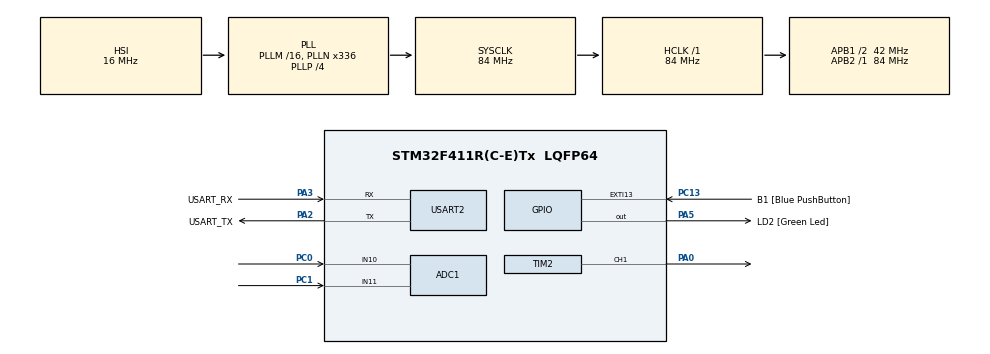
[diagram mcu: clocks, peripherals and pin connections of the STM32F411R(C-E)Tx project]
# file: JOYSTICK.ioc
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ADC1.Channel-10\#ChannelRegularConversion=ADC_CHANNEL_11
ADC1.Channel-4\#ChannelRegularConversion=ADC_CHANNEL_10
ADC1.NbrOfConversion=2
ADC1.NbrOfConversionFlag=1
ADC1.Rank-10\#ChannelRegularConversion=2
ADC1.SamplingTime-10\#ChannelRegularConversion=ADC_SAMPLETIME_15CYCLES
ADC1.SamplingTime-4\#ChannelRegularConversion=ADC_SAMPLETIME_15CYCLES
ADC1.master=1
Mcu.Family=STM32F4
Mcu.Name=STM32F411R(C-E)Tx
Mcu.Package=LQFP64
NVIC.PriorityGroup=NVIC_PRIORITYGROUP_0
PA0-WKUP.Signal=S_TIM2_CH1_ETR
PA13.GPIO_Label=TMS
PA13.Mode=Serial_Wire
PA13.Signal=SYS_JTMS-SWDIO
PA14.GPIO_Label=TCK
PA14.Mode=Serial_Wire
PA14.Signal=SYS_JTCK-SWCLK
PA2.GPIO_Label=USART_TX
PA2.Mode=Asynchronous
PA2.Signal=USART2_TX
PA3.GPIO_Label=USART_RX
PA3.Mode=Asynchronous
PA3.Signal=USART2_RX
PA5.GPIO_Label=LD2 [Green Led]
PA5.Signal=GPIO_Output
PB3.GPIO_Label=SWO
PB3.Signal=SYS_JTDO-SWO
PC0.Signal=ADCx_IN10
PC1.Signal=ADCx_IN11
PC13-ANTI_TAMP.GPIO_Label=B1 [Blue PushButton]
PC13-ANTI_TAMP.GPIO_ModeDefaultEXTI=GPIO_MODE_IT_FALLING
PC13-ANTI_TAMP.Signal=GPXTI13
PC14-OSC32_IN.Mode=LSE-External-Oscillator
PC14-OSC32_IN.Signal=RCC_OSC32_IN
PC15-OSC32_OUT.Mode=LSE-External-Oscillator
PC15-OSC32_OUT.Signal=RCC_OSC32_OUT
PH0\ -\ OSC_IN.Mode=HSE-External-Clock-Source
PH0\ -\ OSC_IN.Signal=RCC_OSC_IN
PH1\ -\ OSC_OUT.Mode=HSE-External-Clock-Source
PH1\ -\ OSC_OUT.Signal=RCC_OSC_OUT
ProjectManager.HeapSize=0x200
ProjectManager.StackSize=0x400
ProjectManager.TargetToolchain=CMake
RCC.48MHZClocksFreq_Value=84000000
RCC.AHBFreq_Value=84000000
RCC.APB1CLKDivider=RCC_HCLK_DIV2
RCC.APB1Freq_Value=42000000
RCC.APB1TimFreq_Value=84000000
RCC.APB2Freq_Value=84000000
RCC.APB2TimFreq_Value=84000000
RCC.CortexFreq_Value=84000000
RCC.FLatency-AdvancedSettings=FLASH_LATENCY_2
RCC.HCLKFreq_Value=84000000
RCC.HSE_VALUE=8000000
RCC.HSI_VALUE=16000000
RCC.PLLN=336
RCC.PLLP=RCC_PLLP_DIV4
RCC.SYSCLKFreq_VALUE=84000000
RCC.SYSCLKSource=RCC_SYSCLKSOURCE_PLLCLK
RCC.VCOOutputFreq_Value=336000000
SH.ADCx_IN10.0=ADC1_IN10,IN10
SH.ADCx_IN11.0=ADC1_IN11,IN11
SH.S_TIM2_CH1_ETR.0=TIM2_CH1,PWM Generation1 CH1
TIM2.Channel-PWM\ Generation1\ CH1=TIM_CHANNEL_1
TIM2.Period=499
TIM2.Prescaler=83
USART2.VirtualMode=VM_ASYNC
board=NUCLEO-F411RE

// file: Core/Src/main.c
/* USER CODE BEGIN Header */
/**
  ******************************************************************************
  * @file           : main.c
  * @brief          : Main program body
  ******************************************************************************
  * @attention
  *
  * Copyright (c) 2026 STMicroelectronics.
  * All rights reserved.
  *
  * This software is licensed under terms that can be found in the LICENSE file
  * in the root directory of this software component.
  * If no LICENSE file comes with this software, it is provided AS-IS.
  *
  ******************************************************************************
  */
/* USER CODE END Header */
#include "main.h"
#include "stm32f411xe.h"
#include "stm32f4xx_hal_gpio.h"

/* USER CODE BEGIN Includes */
#include <stdio.h>
#include <string.h>

/* USER CODE END Includes */

ADC_HandleTypeDef hadc1;

TIM_HandleTypeDef htim2;

UART_HandleTypeDef huart2;

void SystemClock_Config(void);
static void MX_GPIO_Init(void);
static void MX_ADC1_Init(void);
static void MX_USART2_UART_Init(void);
static void MX_TIM2_Init(void);

/* USER CODE BEGIN 0 */
char msg[50];
uint32_t x_axis, y_axis = 0;

/* USER CODE END 0 */

int main(void)
{

  /* MCU Configuration--------------------------------------------------------*/

  /* Reset of all peripherals, Initializes the Flash interface and the Systick. */
  HAL_Init();

  /* Configure the system clock */
  SystemClock_Config();

  /* Initialize all configured peripherals */
  MX_GPIO_Init();
  MX_ADC1_Init();
  MX_USART2_UART_Init();
  MX_TIM2_Init();
  /* USER CODE BEGIN 2 */
  HAL_TIM_PWM_Start(&htim2, TIM_CHANNEL_1);

  /* USER CODE END 2 */

  /* Infinite loop */
  while (1)
  {

   /* Previous code for DIMMING LED Here:
   HAL_GPIO_WritePin(GPIOA, GPIO_PIN_8, 1); // Set PA8 high
    HAL_ADC_Start(&hadc1);
    if(HAL_ADC_PollForConversion(&hadc1, 10) == HAL_OK){
      x_axis = HAL_ADC_GetValue(&hadc1); //CHANNEL 10

      if(HAL_ADC_PollForConversion(&hadc1,10)==HAL_OK){
        y_axis = HAL_ADC_GetValue(&hadc1);//CHANNEL 11
      }
    }
    HAL_ADC_Stop(&hadc1);
    sprintf(msg, "X-axis: %lu, Y-axis: %lu\r\n", x_axis, y_axis);
    HAL_UART_Transmit(&huart2, (uint8_t*)msg, strlen(msg), HAL_MAX_DELAY);
    HAL_Delay(50);
    int brightness = (y_axis/8); // Scale the value to fit within the PWM range (0-255)
    if(y_axis > 2500) {
      __HAL_TIM_SET_COMPARE(&htim2, TIM_CHANNEL_1,brightness);

    } else if(y_axis < 1950) {
      __HAL_TIM_SET_COMPARE(&htim2, TIM_CHANNEL_1,brightness);
    } */

        /* USER CODE BEGIN 3 */
    //Code for Safety-Critical Buzzer System with RED and GREEN LED for visual feedback
    // Start ADC and poll for the first channel (X-axis, Channel 10)
    HAL_ADC_Start(&hadc1);
    if(HAL_ADC_PollForConversion(&hadc1, 10) == HAL_OK){
        x_axis = HAL_ADC_GetValue(&hadc1);

        // Poll again for the second channel in the sequence (Y-axis, Channel 11)
        if(HAL_ADC_PollForConversion(&hadc1, 10) == HAL_OK){
            y_axis = HAL_ADC_GetValue(&hadc1);
        }
    }
    HAL_ADC_Stop(&hadc1);

    // Debugging output to Serial Monitor
    sprintf(msg, "X: %lu | Y: %lu\r\n", x_axis, y_axis);
    HAL_UART_Transmit(&huart2, (uint8_t*)msg, strlen(msg), HAL_MAX_DELAY);
    int sound = (y_axis/9);

    if(HAL_GPIO_ReadPin(GPIOB,GPIO_PIN_0) == 1) {
          if(sound >= 190) {
            //Cap the highest noise level which is 50% duty cycle
            HAL_GPIO_WritePin(GPIOC, GPIO_PIN_7, 0); // Set PC7 low when sound is at max
            HAL_GPIO_WritePin(GPIOA, GPIO_PIN_9, 1); // Set PA9 high when sound is at max
          }else {
            HAL_GPIO_WritePin(GPIOC, GPIO_PIN_7, 1); // Set PC7 high when sound is below max
            HAL_GPIO_WritePin(GPIOA, GPIO_PIN_9, 0); // Set PA9 low when sound is below max
          }
          if(sound > 250) sound = 250;
          // Buzzer Logic: 250 is 50% duty cycle for an ARR of 499
          if(sound >= 190) {
              __HAL_TIM_SET_COMPARE(&htim2, TIM_CHANNEL_1, sound);
          }else {
            __HAL_TIM_SET_COMPARE(&htim2, TIM_CHANNEL_1, sound);
          }

          HAL_Delay(50);

      } else {
      __HAL_TIM_SET_COMPARE(&htim2, TIM_CHANNEL_1, 0);//Turn off Buzzer
      HAL_GPIO_WritePin(GPIOC, GPIO_PIN_7,1);
      HAL_GPIO_WritePin(GPIOA, GPIO_PIN_9,0);
    }
    HAL_Delay(50);

    }
  /* USER CODE END 3 */
}

void SystemClock_Config(void)
{
  RCC_OscInitTypeDef RCC_OscInitStruct = {0};
  RCC_ClkInitTypeDef RCC_ClkInitStruct = {0};

  /** Configure the main internal regulator output voltage
  */
  __HAL_RCC_PWR_CLK_ENABLE();
  __HAL_PWR_VOLTAGESCALING_CONFIG(PWR_REGULATOR_VOLTAGE_SCALE1);

  /** Initializes the RCC Oscillators according to the specified parameters
  * in the RCC_OscInitTypeDef structure.
  */
  RCC_OscInitStruct.OscillatorType = RCC_OSCILLATORTYPE_HSI;
  RCC_OscInitStruct.HSIState = RCC_HSI_ON;
  RCC_OscInitStruct.HSICalibrationValue = RCC_HSICALIBRATION_DEFAULT;
  RCC_OscInitStruct.PLL.PLLState = RCC_PLL_ON;
  RCC_OscInitStruct.PLL.PLLSource = RCC_PLLSOURCE_HSI;
  RCC_OscInitStruct.PLL.PLLM = 16;
  RCC_OscInitStruct.PLL.PLLN = 336;
  RCC_OscInitStruct.PLL.PLLP = RCC_PLLP_DIV4;
  RCC_OscInitStruct.PLL.PLLQ = 4;
  if (HAL_RCC_OscConfig(&RCC_OscInitStruct) != HAL_OK)
  {
    Error_Handler();
  }

  /** Initializes the CPU, AHB and APB buses clocks
  */
  RCC_ClkInitStruct.ClockType = RCC_CLOCKTYPE_HCLK|RCC_CLOCKTYPE_SYSCLK
                              |RCC_CLOCKTYPE_PCLK1|RCC_CLOCKTYPE_PCLK2;
  RCC_ClkInitStruct.SYSCLKSource = RCC_SYSCLKSOURCE_PLLCLK;
  RCC_ClkInitStruct.AHBCLKDivider = RCC_SYSCLK_DIV1;
  RCC_ClkInitStruct.APB1CLKDivider = RCC_HCLK_DIV2;
  RCC_ClkInitStruct.APB2CLKDivider = RCC_HCLK_DIV1;

  if (HAL_RCC_ClockConfig(&RCC_ClkInitStruct, FLASH_LATENCY_2) != HAL_OK)
  {
    Error_Handler();
  }
}

static void MX_ADC1_Init(void)
{

  ADC_ChannelConfTypeDef sConfig = {0};

  /** Configure the global features of the ADC (Clock, Resolution, Data Alignment and number of conversion)
  */
  hadc1.Instance = ADC1;
  hadc1.Init.ClockPrescaler = ADC_CLOCK_SYNC_PCLK_DIV4;
  hadc1.Init.Resolution = ADC_RESOLUTION_12B;
  hadc1.Init.ScanConvMode = ENABLE;
  hadc1.Init.ContinuousConvMode = DISABLE;
  hadc1.Init.DiscontinuousConvMode = DISABLE;
  hadc1.Init.ExternalTrigConvEdge = ADC_EXTERNALTRIGCONVEDGE_NONE;
  hadc1.Init.ExternalTrigConv = ADC_SOFTWARE_START;
  hadc1.Init.DataAlign = ADC_DATAALIGN_RIGHT;
  hadc1.Init.NbrOfConversion = 2;
  hadc1.Init.DMAContinuousRequests = DISABLE;
  hadc1.Init.EOCSelection = ADC_EOC_SINGLE_CONV;
  if (HAL_ADC_Init(&hadc1) != HAL_OK)
  {
    Error_Handler();
  }

  /** Configure for the selected ADC regular channel its corresponding rank in the sequencer and its sample time.
  */
  sConfig.Channel = ADC_CHANNEL_10;
  sConfig.Rank = 1;
  sConfig.SamplingTime = ADC_SAMPLETIME_15CYCLES;
  if (HAL_ADC_ConfigChannel(&hadc1, &sConfig) != HAL_OK)
  {
    Error_Handler();
  }

  /** Configure for the selected ADC regular channel its corresponding rank in the sequencer and its sample time.
  */
  sConfig.Channel = ADC_CHANNEL_11;
  sConfig.Rank = 2;
  if (HAL_ADC_ConfigChannel(&hadc1, &sConfig) != HAL_OK)
  {
    Error_Handler();
  }

}

static void MX_TIM2_Init(void)
{

  TIM_MasterConfigTypeDef sMasterConfig = {0};
  TIM_OC_InitTypeDef sConfigOC = {0};

  htim2.Instance = TIM2;
  htim2.Init.Prescaler = 83;
  htim2.Init.CounterMode = TIM_COUNTERMODE_UP;
  htim2.Init.Period = 499;
  htim2.Init.ClockDivision = TIM_CLOCKDIVISION_DIV1;
  htim2.Init.AutoReloadPreload = TIM_AUTORELOAD_PRELOAD_DISABLE;
  if (HAL_TIM_PWM_Init(&htim2) != HAL_OK)
  {
    Error_Handler();
  }
  sMasterConfig.MasterOutputTrigger = TIM_TRGO_RESET;
  sMasterConfig.MasterSlaveMode = TIM_MASTERSLAVEMODE_DISABLE;
  if (HAL_TIMEx_MasterConfigSynchronization(&htim2, &sMasterConfig) != HAL_OK)
  {
    Error_Handler();
  }
  sConfigOC.OCMode = TIM_OCMODE_PWM1;
  sConfigOC.Pulse = 0;
  sConfigOC.OCPolarity = TIM_OCPOLARITY_HIGH;
  sConfigOC.OCFastMode = TIM_OCFAST_DISABLE;
  if (HAL_TIM_PWM_ConfigChannel(&htim2, &sConfigOC, TIM_CHANNEL_1) != HAL_OK)
  {
    Error_Handler();
  }
  HAL_TIM_MspPostInit(&htim2);

}

static void MX_USART2_UART_Init(void)
{

  huart2.Instance = USART2;
  huart2.Init.BaudRate = 115200;
  huart2.Init.WordLength = UART_WORDLENGTH_8B;
  huart2.Init.StopBits = UART_STOPBITS_1;
  huart2.Init.Parity = UART_PARITY_NONE;
  huart2.Init.Mode = UART_MODE_TX_RX;
  huart2.Init.HwFlowCtl = UART_HWCONTROL_NONE;
  huart2.Init.OverSampling = UART_OVERSAMPLING_16;
  if (HAL_UART_Init(&huart2) != HAL_OK)
  {
    Error_Handler();
  }

}

static void MX_GPIO_Init(void)
{
  GPIO_InitTypeDef GPIO_InitStruct = {0};

  /* GPIO Ports Clock Enable */
  __HAL_RCC_GPIOC_CLK_ENABLE();
  __HAL_RCC_GPIOH_CLK_ENABLE();
  __HAL_RCC_GPIOA_CLK_ENABLE();
  __HAL_RCC_GPIOB_CLK_ENABLE();

  /*Configure GPIO pin Output Level */
  HAL_GPIO_WritePin(LD2_GPIO_Port, LD2_Pin, GPIO_PIN_RESET);

  /*Configure GPIO pin : B1_Pin */
  GPIO_InitStruct.Pin = B1_Pin;
  GPIO_InitStruct.Mode = GPIO_MODE_IT_FALLING;
  GPIO_InitStruct.Pull = GPIO_NOPULL;
  HAL_GPIO_Init(B1_GPIO_Port, &GPIO_InitStruct);

  /*Configure GPIO pin : LD2_Pin */
  GPIO_InitStruct.Pin = LD2_Pin;
  GPIO_InitStruct.Mode = GPIO_MODE_OUTPUT_PP;
  GPIO_InitStruct.Pull = GPIO_NOPULL;
  GPIO_InitStruct.Speed = GPIO_SPEED_FREQ_LOW;
  HAL_GPIO_Init(LD2_GPIO_Port, &GPIO_InitStruct);

  /* USER CODE BEGIN MX_GPIO_Init_2 */
   /*Configure GPIO pin : GPIO PIN 8  */
  GPIO_InitStruct.Pin = GPIO_PIN_8;
  GPIO_InitStruct.Mode = GPIO_MODE_OUTPUT_PP;
  GPIO_InitStruct.Pull = GPIO_NOPULL;
  HAL_GPIO_Init(GPIOA, &GPIO_InitStruct);
  /*Configure GPIO pin : GPIO_PIN_0 port A*/
  GPIO_InitStruct.Pin = GPIO_PIN_0;
  GPIO_InitStruct.Mode = GPIO_MODE_OUTPUT_PP;
  GPIO_InitStruct.Pull = GPIO_NOPULL;
  GPIO_InitStruct.Speed = GPIO_SPEED_FREQ_LOW;
  HAL_GPIO_Init(GPIOA, &GPIO_InitStruct);

  /*Configure GPIO Pin: GPIO PIN 9*/
  GPIO_InitStruct.Pin = GPIO_PIN_9;
  GPIO_InitStruct.Mode = GPIO_MODE_OUTPUT_PP;
  GPIO_InitStruct.Pull = GPIO_NOPULL;
  HAL_GPIO_Init(GPIOA, &GPIO_InitStruct);
  /*Configure GPIO Pin: GPIO PIN 7*/
  GPIO_InitStruct.Pin = GPIO_PIN_7;
  GPIO_InitStruct.Mode = GPIO_MODE_OUTPUT_PP;
  GPIO_InitStruct.Pull = GPIO_NOPULL;
  HAL_GPIO_Init(GPIOC, &GPIO_InitStruct);
  /*Configure GPIO Pin: GPIO PIN 0 */
  GPIO_InitStruct.Pin = GPIO_PIN_0;
  GPIO_InitStruct.Mode = GPIO_MODE_INPUT;
  GPIO_InitStruct.Pull = GPIO_PULLUP;
  HAL_GPIO_Init(GPIOB, &GPIO_InitStruct);
  /* USER CODE END MX_GPIO_Init_2 */
}

void Error_Handler(void)
{
  __disable_irq();
  while (1)
  {
  }
}
